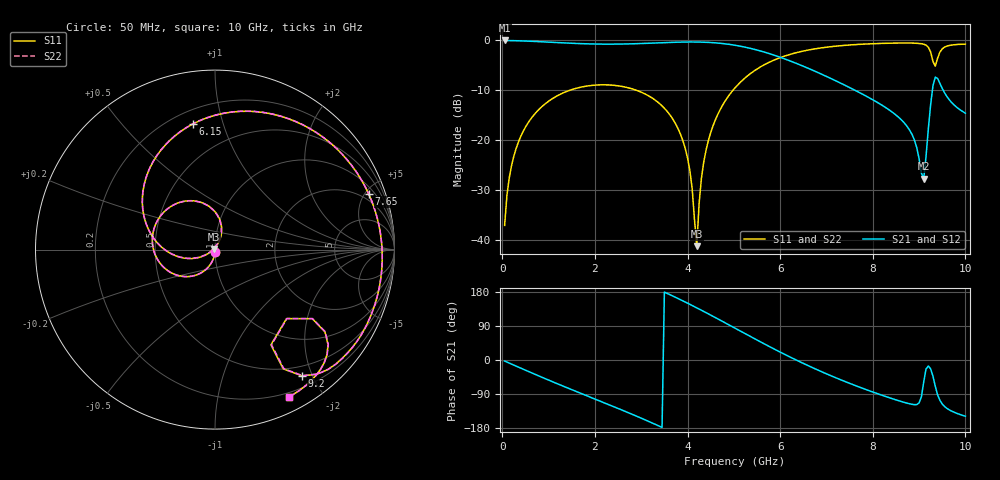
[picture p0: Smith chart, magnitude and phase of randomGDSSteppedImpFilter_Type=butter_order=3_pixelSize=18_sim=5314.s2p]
! freq	dB(S11)	phase(S11)	dB(S12)	phase(S12)
!  dB(S21)	phase(S21)	dB(S22)	phase(S22)
!S-par simulation data
#  GHz  S  DB  R 50
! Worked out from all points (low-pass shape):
!   200 points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, 50 MHz to 10 GHz, reference 50 ohm
!   highest |S21| = 0.00 dB at 50 MHz (marker M1); lowest = -27.7 dB at 9.1 GHz (marker M2)
!   |S21| within 3 dB of the highest: start of sweep to 5.886 GHz
!   lowest |S11| = -41.2 dB at 4.2 GHz (marker M3), VSWR 1.02, Z = 49.2 + j0.32 ohm
!   |S11| at or under -10 dB: start of sweep to 1.45 GHz; 2.904 GHz to 4.98 GHz (2.075 GHz wide, 52.7 % of centre)
!   |S22| runs from -39.8 to -0.5 dB; largest |S21 - S12| = 0
!   S11 on the Smith chart (normalised r, x): 50 MHz: 1.00, -0.03; 6.15 GHz: 0.28, +0.80; 7.65 GHz: 1.47, +5.31; 9.2 GHz: 0.35, -1.85; 10 GHz: 0.15, -1.61
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0.05  -37.04 -92.6  -0.00 -2.7  -0.00 -2.7  -37.04 -92.6
0.2  -25.05 -101.1  -0.03 -10.9  -0.03 -10.9  -25.05 -101.1
0.5  -17.36 -117.5  -0.12 -26.9  -0.12 -26.9  -17.36 -117.5
1.75  -9.26 178.6  -0.66 -90.7  -0.66 -90.7  -9.25 178.7
2.55  -9.15 139.1  -0.73 -130.3  -0.73 -130.3  -9.15 139.3
3.4  -12.68 95.0  -0.47 -175.1  -0.47 -175.1  -12.68 95.5
3.95  -21.62 66.3  -0.32 153.0  -0.32 153.0  -21.60 67.6
4.1  -29.67 65.0  -0.31 143.8  -0.31 143.8  -29.56 68.0
4.2  -41.20 158.1  -0.31 137.6  -0.31 137.6  -39.82 155.5
4.3  -27.61 -150.0  -0.33 131.3  -0.33 131.3  -27.54 -152.1
4.45  -20.04 -153.8  -0.39 121.8  -0.39 121.8  -20.03 -154.6
5.05  -9.24 169.9  -1.00 82.4  -1.00 82.4  -9.24 169.9
6.15  -2.97 100.1  -3.87 11.7  -3.87 11.7  -2.97 100.3
6.7  -1.76 68.3  -5.96 -20.3  -5.96 -20.3  -1.76 68.5
7.65  -0.81 19.9  -10.14 -68.7  -10.14 -68.7  -0.81 20.1
8.35  -0.55 -11.3  -13.88 -99.2  -13.88 -99.2  -0.55 -11.1
8.85  -0.52 -33.2  -18.86 -117.0  -18.86 -117.0  -0.52 -32.9
9.1  -0.75 -46.8  -27.67 -58.1  -27.67 -58.1  -0.74 -46.6
9.2  -1.36 -55.4  -17.69 -16.0  -17.69 -16.0  -1.35 -55.2
9.35  -5.13 -43.9  -7.35 -69.5  -7.35 -69.5  -5.11 -43.8
9.5  -1.69 -40.1  -9.60 -116.1  -9.60 -116.1  -1.69 -40.0
10  -0.74 -63.3  -14.57 -148.4  -14.57 -148.4  -0.74 -63.2
